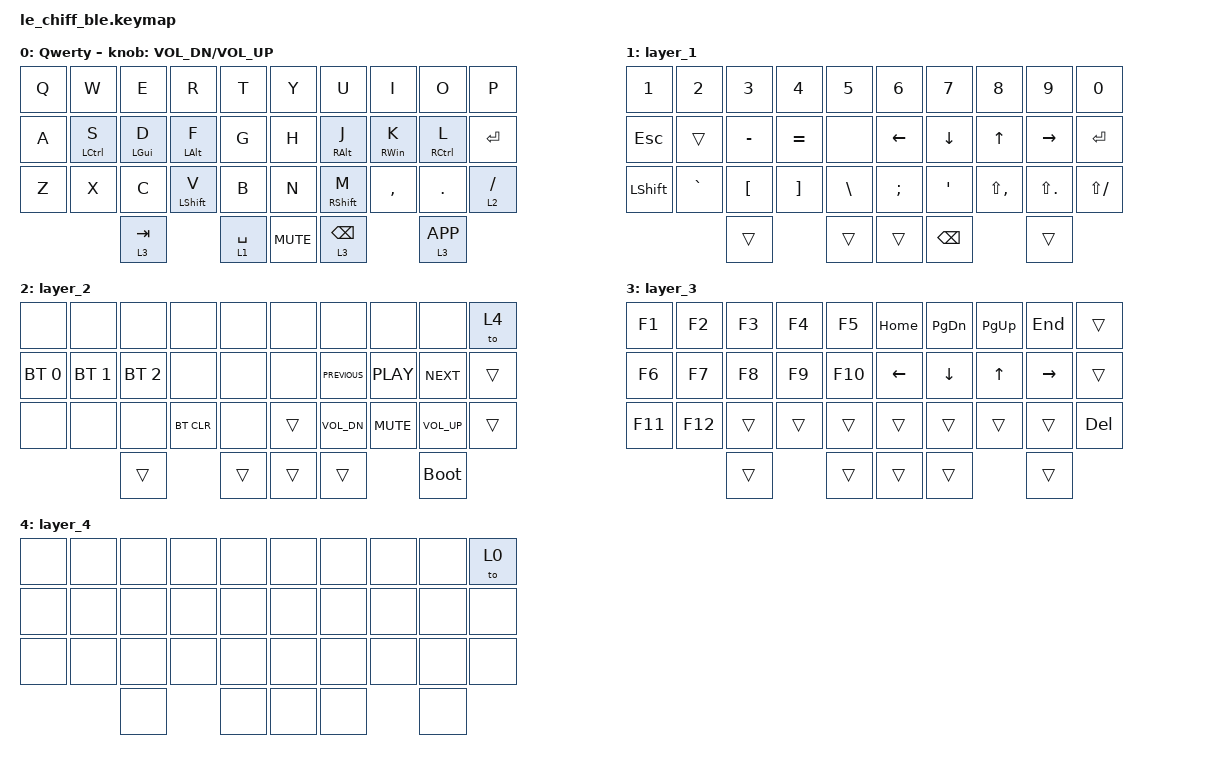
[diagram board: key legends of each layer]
/*
 * Copyright (c) 2021 @MangoIV
 *
 * SPDX-License-Identifier: MIT
 */

#include <behaviors.dtsi>
#include <dt-bindings/zmk/bt.h>
#include <dt-bindings/zmk/keys.h>

// makes it possible to hold backspace

&lt { quick_tap_ms = <200>; };

/ {
    combos { compatible = "zmk,combos"; };

    behaviors {
        hm: homerow_mods {
            compatible = "zmk,behavior-hold-tap";
            label = "homerow_mods";
            bindings = <&kp>, <&kp>;

            #binding-cells = <2>;
            flavor = "tap-preferred";
            tapping-term-ms = <200>;
        };
    };

    keymap {
        compatible = "zmk,keymap";

        default {
            label = "Qwerty";
            bindings = <
&kp Q  &kp W        &kp E       &kp R         &kp T        &kp Y       &kp U            &kp I       &kp O        &kp P
&kp A  &hm LCTRL S  &hm LGUI D  &hm LALT F    &kp G        &kp H       &hm RALT J       &hm RWIN K  &hm RCTRL L  &kp ENTER
&kp Z  &kp X        &kp C       &hm LSHIFT V  &kp B        &kp N       &hm RSHIFT M     &kp COMMA   &kp DOT      &lt 2 SLASH
                    &lt 3 TAB                 &lt 1 SPACE  &kp C_MUTE  &lt 3 BACKSPACE              &lt 3 K_APP
            >;

            sensor-bindings = <&inc_dec_kp C_VOL_DN C_VOL_UP>;
        };

        layer_1 {
            bindings = <
&kp NUMBER_1  &kp NUMBER_2  &kp NUMBER_3      &kp NUMBER_4       &kp N5         &kp NUMBER_6   &kp N7         &kp N8         &kp N9          &kp N0
&kp ESCAPE    &trans        &kp MINUS         &kp EQUAL          &none          &kp LEFT       &kp DOWN       &kp UP_ARROW   &kp RIGHT       &kp ENTER
&kp LSHIFT    &kp GRAVE     &kp LEFT_BRACKET  &kp RIGHT_BRACKET  &kp BACKSLASH  &kp SEMICOLON  &kp SQT        &kp LS(COMMA)  &kp LS(PERIOD)  &kp LS(SLASH)
                            &trans                               &trans         &trans         &kp BACKSPACE                 &trans
            >;
        };

        layer_2 {
            bindings = <
&none         &none         &none         &none       &none   &none   &none           &none       &none            &to 4
&bt BT_SEL 0  &bt BT_SEL 1  &bt BT_SEL 2  &none       &none   &none   &kp C_PREVIOUS  &kp C_PLAY  &kp C_NEXT       &trans
&none         &none         &none         &bt BT_CLR  &none   &trans  &kp C_VOL_DN    &kp K_MUTE  &kp C_VOLUME_UP  &trans
                            &trans                    &trans  &trans  &trans                      &bootloader
            >;
        };

        layer_3 {
            bindings = <
&kp F1   &kp F2   &kp F3  &kp F4  &kp F5   &kp HOME  &kp PAGE_DOWN  &kp PG_UP     &kp END    &trans
&kp F6   &kp F7   &kp F8  &kp F9  &kp F10  &kp LEFT  &kp DOWN       &kp UP_ARROW  &kp RIGHT  &trans
&kp F11  &kp F12  &trans  &trans  &trans   &trans    &trans         &trans        &trans     &kp DEL
                  &trans          &trans   &trans    &trans                       &trans
            >;
        };

        layer_4 {
            bindings = <
&none  &none  &none  &none  &none  &none  &none  &none  &none  &to 0
&none  &none  &none  &none  &none  &none  &none  &none  &none  &none
&none  &none  &none  &none  &none  &none  &none  &none  &none  &none
              &none         &none  &none  &none         &none
            >;
        };
    };
};
